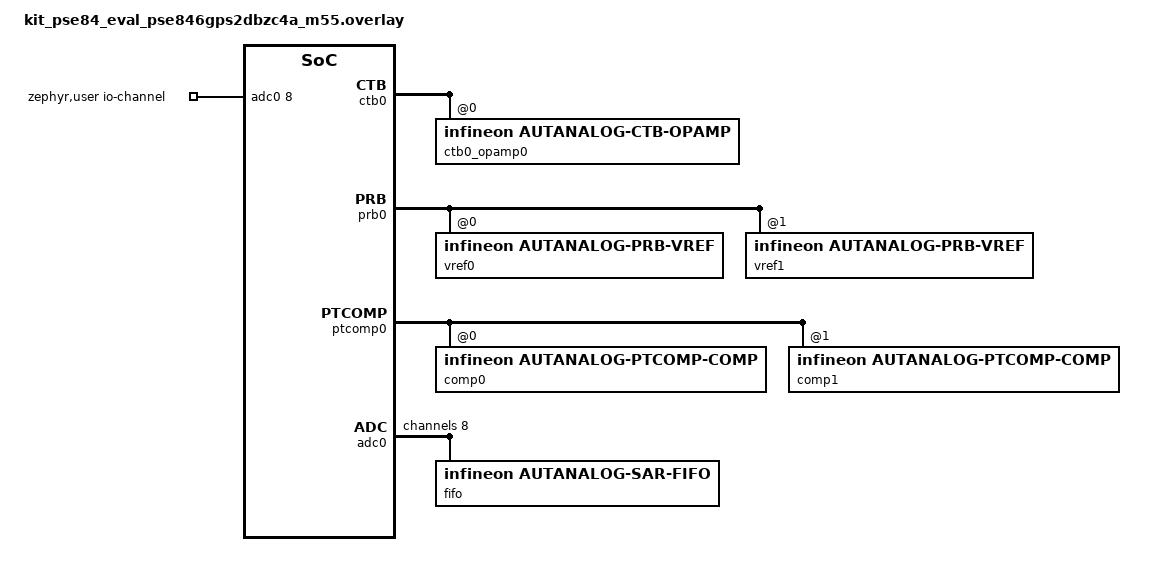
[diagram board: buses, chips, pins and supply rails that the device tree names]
/*
 * SPDX-FileCopyrightText: <text>Copyright (c) 2026 Infineon Technologies AG,
 * or an affiliate of Infineon Technologies AG. All rights reserved.</text>
 *
 * SPDX-License-Identifier: Apache-2.0
 */

/*
 * Low-power autonomous analog configuration for voice/audio input.
 *
 * Signal path:
 *   Analog mic -> CTB0 OA0 (open-loop preamp) -> SAR MUX ch0 -> FIFO
 *   CTB0 OA0 output -> PTCOMP comp0/comp1 vs PRB thresholds (AAD)
 *
 * The SAR ADC runs in LP mode using LPOSC at 4.096 MHz.  The FIFO
 * collects conversion results and fires a watermark interrupt every
 * 160 samples (~10 ms at ~16 kHz effective rate).
 *
 * The Autonomous Controller (AC) uses an 11-state advanced state machine:
 *   State 0:  Init - wait for BLOCK_READY, enable LP mode, unlock peripherals
 *   State 1:  Wait for FW trigger 0 (start command from application)
 *   State 2:  Branch unconditionally to state 6 (skip AAD on first pass)
 *   State 3:  AAD entry - wait for BLOCK_READY
 *   State 4:  AAD - wait for PTCOMP_RANGE0 (acoustic activity detected)
 *   State 5:  No-op, fall through to state 6
 *   State 6:  Wait for TIMER_DONE_WAKE (periodic sampling tick, period=255)
 *   State 7:  Wait for BLOCK_READY, enable SAR
 *   State 8:  Trigger SAR conversion, wait for SAR_DONE
 *   State 9:  Check FW trigger 1 (stop): if not set -> loop to state 6
 *   State 10: Branch unconditionally to state 3 (return to AAD idle)
 */

#include <zephyr/dt-bindings/adc/adc.h>
#include <zephyr/dt-bindings/adc/infineon-autanalog-sar.h>
#include <zephyr/dt-bindings/comparator/infineon-autanalog-ptcomp.h>
#include <zephyr/dt-bindings/regulator/infineon-autanalog-prb.h>
#include <zephyr/dt-bindings/opamp/infineon-autanalog-ctb.h>
#include <zephyr/dt-bindings/mfd/infineon-autanalog.h>

/ {
	zephyr,user {
		/* Single MUX channel: CTB0 OA0 output (mic preamp) */
		io-channels = <&adc0 8>;
	};

	/*
	 * Autonomous Controller: 11-state advanced state machine
	 *
	 * Reference: analog_mic_interface_states_stt / analog_mic_interface_states_cfg
	 *
	 * Flow:
	 *   [0] Init -> [1] wait FW_TRIGGER0 -> [2] branch -> [6] timer loop
	 *   [6] TIMER_DONE_WAKE -> [7] enable SAR -> [8] trigger/SAR_DONE ->
	 *   [9] check FW_TRIGGER1: not set -> [6]; set -> [10] -> [3] AAD idle
	 *   [3] BLOCK_READY -> [4] PTCOMP_RANGE0 -> [5] -> [6] resume sampling
	 */

	/* State 0: Init - unlock, LP mode, wait BLOCK_READY -> state 1 */
	ac_state0: ac-state-0 {
		compatible = "infineon,autanalog-ac-state";
		ac-unlock = <1>;
		ac-lp-mode = <1>;
		ac-condition = <IFX_AUTANALOG_AC_COND_BLOCK_READY>;
		ac-action = <IFX_AUTANALOG_AC_ACTION_WAIT_FOR>;
		branch-state = <1>;
		/* PRB: set initial reference taps */
		prb-unlock = <1>;
		prb-vref0-fw = <1>;
		prb-vref0-tap = <IFX_AUTANALOG_PRB_TAP_8>;
		prb-vref1-fw = <1>;
		prb-vref1-tap = <IFX_AUTANALOG_PRB_TAP_6>;
		/* CTB0: enable opamp0 (mic preamp) */
		ctb0-unlock = <1>;
		ctb0-enable-opamp0 = <1>;
		ctb0-gain-opamp0 = <IFX_AUTANALOG_CTB_OA_GAIN_1_00>;
	};

	/* State 1: Wait for FW trigger 0 (application start command) */
	ac_state1: ac-state-1 {
		compatible = "infineon,autanalog-ac-state";
		ac-condition = <IFX_AUTANALOG_AC_COND_TR_IN0>;
		ac-action = <IFX_AUTANALOG_AC_ACTION_WAIT_FOR>;
	};

	/* State 2: Unconditional branch to state 6 (skip AAD on first pass) */
	ac_state2: ac-state-2 {
		compatible = "infineon,autanalog-ac-state";
		ac-condition = <IFX_AUTANALOG_AC_COND_TRUE>;
		ac-action = <IFX_AUTANALOG_AC_ACTION_BRANCH_IF_TRUE>;
		branch-state = <6>;
		/* Enable PTCOMP comparators for AAD detection */
		ptcomp0-enable-comp0 = <1>;
		ptcomp0-enable-comp1 = <1>;
		ptcomp0-dyn-cfg-idx-comp0 = <0>;
		ptcomp0-dyn-cfg-idx-comp1 = <1>;
	};

	/* State 3: AAD idle entry - wait BLOCK_READY */
	ac_state3: ac-state-3 {
		compatible = "infineon,autanalog-ac-state";
		ac-condition = <IFX_AUTANALOG_AC_COND_BLOCK_READY>;
		ac-action = <IFX_AUTANALOG_AC_ACTION_WAIT_FOR>;
		/* Re-enable PTCOMP for AAD (unlock to reconfigure) */
		ptcomp0-unlock = <1>;
		ptcomp0-enable-comp0 = <1>;
		ptcomp0-enable-comp1 = <1>;
		ptcomp0-dyn-cfg-idx-comp0 = <0>;
		ptcomp0-dyn-cfg-idx-comp1 = <1>;
	};

	/* State 4: AAD - wait for acoustic activity (PTCOMP range 0) */
	ac_state4: ac-state-4 {
		compatible = "infineon,autanalog-ac-state";
		ac-condition = <IFX_AUTANALOG_AC_COND_PTCOMP_RANGE0>;
		ac-action = <IFX_AUTANALOG_AC_ACTION_WAIT_FOR>;
	};

	/* State 5: No-op, fall through to state 6 */
	ac_state5: ac-state-5 {
		compatible = "infineon,autanalog-ac-state";
		ac-condition = <IFX_AUTANALOG_AC_COND_FALSE>;
		ac-action = <IFX_AUTANALOG_AC_ACTION_NEXT>;
		/* Disable PTCOMP during active sampling */
		ptcomp0-unlock = <0>;
	};

	/* State 6: Wait for timer tick (periodic sampling interval) */
	ac_state6: ac-state-6 {
		compatible = "infineon,autanalog-ac-state";
		ac-condition = <IFX_AUTANALOG_AC_COND_TIMER_DONE_WAKE>;
		ac-action = <IFX_AUTANALOG_AC_ACTION_WAIT_FOR>;
	};

	/* State 7: Enable SAR, wait BLOCK_READY */
	ac_state7: ac-state-7 {
		compatible = "infineon,autanalog-ac-state";
		ac-condition = <IFX_AUTANALOG_AC_COND_BLOCK_READY>;
		ac-action = <IFX_AUTANALOG_AC_ACTION_WAIT_FOR>;
		sar-unlock = <1>;
		sar-enable = <1>;
	};

	/* State 8: Trigger SAR conversion, wait SAR_DONE */
	ac_state8: ac-state-8 {
		compatible = "infineon,autanalog-ac-state";
		ac-condition = <IFX_AUTANALOG_AC_COND_SAR_DONE>;
		ac-action = <IFX_AUTANALOG_AC_ACTION_WAIT_FOR>;
		sar-unlock = <1>;
		sar-enable = <1>;
		sar-trigger = <1>;
	};

	/* State 9: Check FW trigger 1 (stop). If NOT set -> loop to 6.
	 * If set -> fall through to state 10 (return to AAD).
	 */
	ac_state9: ac-state-9 {
		compatible = "infineon,autanalog-ac-state";
		ac-condition = <IFX_AUTANALOG_AC_COND_TR_IN1>;
		ac-action = <IFX_AUTANALOG_AC_ACTION_BRANCH_IF_FALSE>;
		branch-state = <6>;
		sar-unlock = <1>;
	};

	/* State 10: Unconditional branch to state 3 (AAD idle) */
	ac_state10: ac-state-10 {
		compatible = "infineon,autanalog-ac-state";
		ac-condition = <IFX_AUTANALOG_AC_COND_TRUE>;
		ac-action = <IFX_AUTANALOG_AC_ACTION_BRANCH_IF_TRUE>;
		branch-state = <3>;
	};
};

&autanalog {
	ac-timer-enable;
	ac-timer-clk-src = <IFX_AUTANALOG_TIMER_CLK_LP>; /* LPOSC 4.096 MHz */
	ac-timer-period = <255>;

	ac-states = <&ac_state0 &ac_state1 &ac_state2 &ac_state3 &ac_state4
		     &ac_state5 &ac_state6 &ac_state7 &ac_state8 &ac_state9
		     &ac_state10>;
};

/*
 * CTB0 OA0: Microphone preamplifier (open-loop opamp)
 *
 * Reference: mic_preamps_and_filters_sta_cfg / mic_preamps_and_filters_dyn_cfg
 *   - Ultra-low power, open-loop topology
 *   - Non-inverting input: P14.0 (OA0_P0)
 *   - Inverting input:     P14.1 (OA0_P1)
 *   - Output routed to pin P14.2 and internally to SAR MUX / PTCOMP
 */
&ctb0 {
	ctb0_opamp0: opamp@0 {
		compatible = "infineon,autanalog-ctb-opamp";
		reg = <0>;
		power-mode = <IFX_AUTANALOG_CTB_OA_PWR_ULTRA_LOW>;
		topology = <IFX_AUTANALOG_CTB_OA_TOPO_OPEN_LOOP_OPAMP>;
		ninv-inp-pin = <IFX_AUTANALOG_CTB_OA_NINV_PIN_OA0_P0_OA1_P5>;
		inv-inp-pin = <IFX_AUTANALOG_CTB_OA_INV_PIN_OA0_P1_OA1_P4>;
		out-to-pin;
		functional-mode = "standalone";
	};
};

/*
 * PRB: Programmable reference voltages for AAD thresholds
 *
 * Reference: aad_threshold_voltages_0 / aad_threshold_voltages_1
 *   - VREF0: 0.5625 × VDDA (upper threshold)
 *   - VREF1: 0.4375 × VDDA (lower threshold)
 *   For VDDA = 1.8 V: VREF0 ≈ 1.013 V, VREF1 ≈ 0.788 V
 */
&prb0 {
	status = "okay";

	vref0: vref@0 {
		compatible = "infineon,autanalog-prb-vref";
		reg = <0>;
		source = <IFX_AUTANALOG_PRB_SRC_VDDA>;
		tap = <IFX_AUTANALOG_PRB_TAP_8>;  /* 0.5625 × Vsrc */
	};

	vref1: vref@1 {
		compatible = "infineon,autanalog-prb-vref";
		reg = <1>;
		source = <IFX_AUTANALOG_PRB_SRC_VDDA>;
		tap = <IFX_AUTANALOG_PRB_TAP_6>;  /* 0.4375 × Vsrc */
	};
};

/*
 * PTCOMP: Acoustic Activity Detection (AAD) comparators
 *
 * Reference: aad_comparators_sta_cfg / aad_comparators_dyn_cfg / aad_comparators_pp_cfg
 *   - Comp0: mic output (CTB0 OA0) vs upper threshold (PRB OUT0)
 *   - Comp1: lower threshold (PRB OUT1) vs mic output (CTB0 OA0)
 *   - Both use ULP power with hysteresis, rising-edge interrupts
 *   - Post-processing: frame-based level counting (period=3, window=2)
 *     triggers when count exceeds 2 in the frame -> acoustic activity
 */
&ptcomp0 {
	status = "okay";

	comp0: comp@0 {
		compatible = "infineon,autanalog-ptcomp-comp";
		reg = <0>;
		power-mode = <IFX_AUTANALOG_PTCOMP_PWR_ULP>;
		hysteresis;
		interrupt-mode = <IFX_AUTANALOG_PTCOMP_INT_EDGE_RISING>;
		positive-mux = <IFX_AUTANALOG_PTCOMP_MUX_CTB0_OA0_OUT>;
		negative-mux = <IFX_AUTANALOG_PTCOMP_MUX_PRB_OUT0>;
		pp-input-source = <IFX_AUTANALOG_PTCOMP_PP_SRC_COMP0>;
		pp-input-type = <IFX_AUTANALOG_PTCOMP_PP_TYPE_LEVEL>;
		pp-count-mode = <IFX_AUTANALOG_PTCOMP_PP_MODE_FRAME>;
		pp-data-function = <IFX_AUTANALOG_PTCOMP_PP_FUNC_A_OR_B>;
		pp-window-size = <IFX_AUTANALOG_PTCOMP_PP_WIN_2>;
		pp-period = <3>;
		pp-limit-condition = <IFX_AUTANALOG_PTCOMP_PP_COND_ABOVE>;
		pp-threshold-low = <0>;
		pp-threshold-high = <2>;
	};

	comp1: comp@1 {
		compatible = "infineon,autanalog-ptcomp-comp";
		reg = <1>;
		power-mode = <IFX_AUTANALOG_PTCOMP_PWR_ULP>;
		hysteresis;
		interrupt-mode = <IFX_AUTANALOG_PTCOMP_INT_EDGE_RISING>;
		positive-mux = <IFX_AUTANALOG_PTCOMP_MUX_PRB_OUT1>;
		negative-mux = <IFX_AUTANALOG_PTCOMP_MUX_CTB0_OA0_OUT>;
		pp-input-source = <IFX_AUTANALOG_PTCOMP_PP_SRC_COMP1>;
		pp-input-type = <IFX_AUTANALOG_PTCOMP_PP_TYPE_LEVEL>;
		pp-count-mode = <IFX_AUTANALOG_PTCOMP_PP_MODE_FRAME>;
		pp-data-function = <IFX_AUTANALOG_PTCOMP_PP_FUNC_A_OR_B>;
		pp-window-size = <IFX_AUTANALOG_PTCOMP_PP_WIN_2>;
		pp-period = <3>;
		pp-limit-condition = <IFX_AUTANALOG_PTCOMP_PP_COND_ABOVE>;
		pp-threshold-low = <0>;
		pp-threshold-high = <2>;
	};
};

/*
 * SAR ADC: Low-power audio sampling
 *
 * Reference: adc_for_vad_sta_cfg / adc_for_vad_mux_ch_cfg / adc_for_vad_fifo_cfg
 *   - LP mode (LPOSC 4.096 MHz), VDDA/2 reference
 *   - MUX channel 0: positive = CTB0 OA0 output, negative = CTB0 PIN1
 *   - Sign-extended differential result, buffer bypass
 *   - FIFO: single 512-word buffer, watermark at 159 words (~10 ms of audio)
 */
&adc0 {
	status = "okay";
	#address-cells = <1>;
	#size-cells = <0>;

	lp-mode;
	vref-source = <IFX_AUTANALOG_SAR_VREF_VDDA_BY_2>;
	pos-buf-pwr = <IFX_AUTANALOG_SAR_BUF_PWR_OFF>;
	neg-buf-pwr = <IFX_AUTANALOG_SAR_BUF_PWR_OFF>;

	/* MUX channel 0: mic preamp output (differential, sign-extended) */
	channel@8 {
		reg = <8>;
		zephyr,acquisition-time = <ADC_ACQ_TIME(ADC_ACQ_TIME_MICROSECONDS, 1)>;
		zephyr,gain = "ADC_GAIN_1";
		zephyr,reference = "ADC_REF_INTERNAL";
		zephyr,resolution = <12>;
		zephyr,input-positive = <IFX_AUTANALOG_SAR_PIN_MUX_CTB0_OA0_OUT>;
		/* Negative MUX pin defaults to CTB0_PIN1 (0) - no need for
		 * zephyr,input-negative (which would incorrectly set differential).
		 */
		sign;
		mux-buf-bypass;
		fifo-sel = <IFX_AUTANALOG_SAR_FIFO_0>;
	};

	/* FIFO: single 512-word buffer, watermark at 159 words */
	fifo {
		compatible = "infineon,autanalog-sar-fifo";
		fifo-levels = <159>;
	};
};
